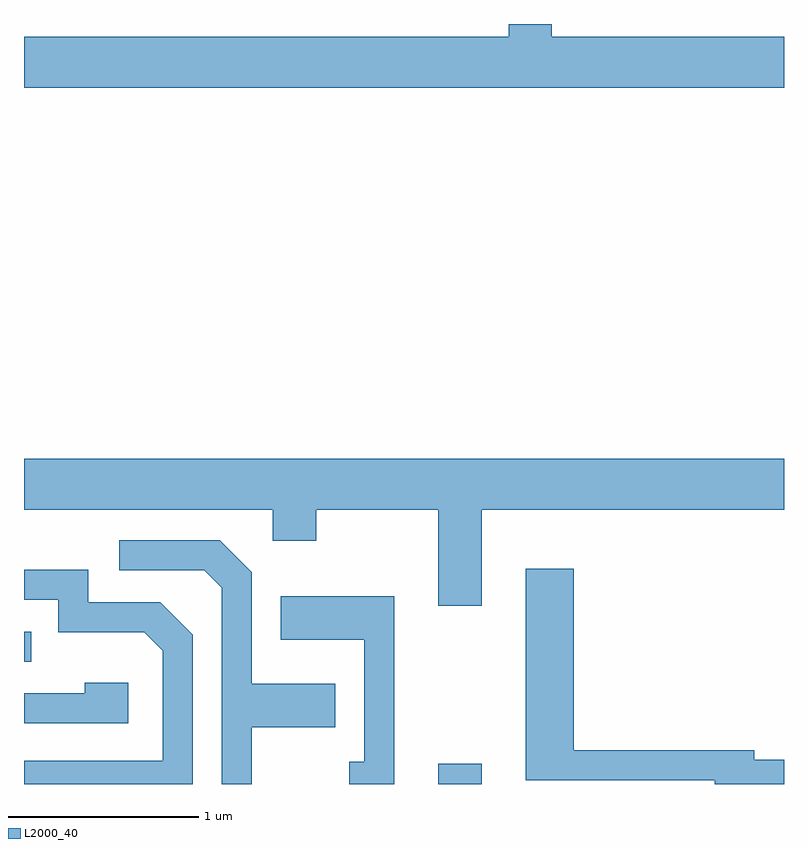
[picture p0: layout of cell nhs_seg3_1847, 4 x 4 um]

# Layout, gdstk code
import gdstk
lib = gdstk.Library(unit=1e-6, precision=1e-09)
def R(c, l, rs):  # rectangles x0, y0, x1, y1
    for r in rs: c.add(gdstk.rectangle(r[:2], r[2:], *l))
def P(c, l, *ps):  # polygons
    for p in ps: c.add(gdstk.Polygon(p, *l))
L2000_40 = (2000, 40)

nhs_seg3_1847 = lib.new_cell('nhs_seg3_1847')
R(nhs_seg3_1847, L2000_40, [(241.791,1137.892,242.019,1137.999), (239.611,1138.536,239.648,1138.694)])
P(nhs_seg3_1847, L2000_40, [(243.611,1141.824),(242.389,1141.824),(242.389,1141.892),(242.161,1141.892),(242.161,1141.824),(239.611,1141.824),(239.611,1141.556),(243.611,1141.556)],
  [(242.019,1139.336),(243.611,1139.336),(243.611,1139.604),(239.611,1139.604),(239.611,1139.336),(240.921,1139.336),(240.921,1139.171),(241.149,1139.171),(241.149,1139.336),(241.791,1139.336),(241.791,1138.831),(242.019,1138.831)],
  [(240.809,1138.191),(241.249,1138.191),(241.249,1138.419),(240.809,1138.419),(240.809,1139.007),(240.642,1139.174),(240.113,1139.174),(240.113,1139.016),(240.559,1139.016),(240.651,1138.924),(240.651,1137.892),(240.809,1137.892)],
  [(243.611,1138.019),(243.454,1138.019),(243.454,1138.069),(242.504,1138.069),(242.504,1139.024),(242.251,1139.024),(242.251,1137.911),(243.246,1137.911),(243.246,1137.892),(243.611,1137.892)],
  [(240.499,1138.677),(240.327,1138.849),(239.949,1138.849),(239.949,1139.019),(239.611,1139.019),(239.611,1138.861),(239.791,1138.861),(239.791,1138.691),(240.244,1138.691),(240.341,1138.594),(240.341,1138.014),(239.611,1138.014),(239.611,1137.892),(240.499,1137.892)],
  [(241.559,1138.879),(240.961,1138.879),(240.961,1138.651),(241.401,1138.651),(241.401,1138.009),(241.323,1138.009),(241.323,1137.892),(241.559,1137.892)],
  [(240.159,1138.424),(239.931,1138.424),(239.931,1138.369),(239.611,1138.369),(239.611,1138.211),(240.159,1138.211)])

lib.write_gds('nhs_seg3_1847.gds')
